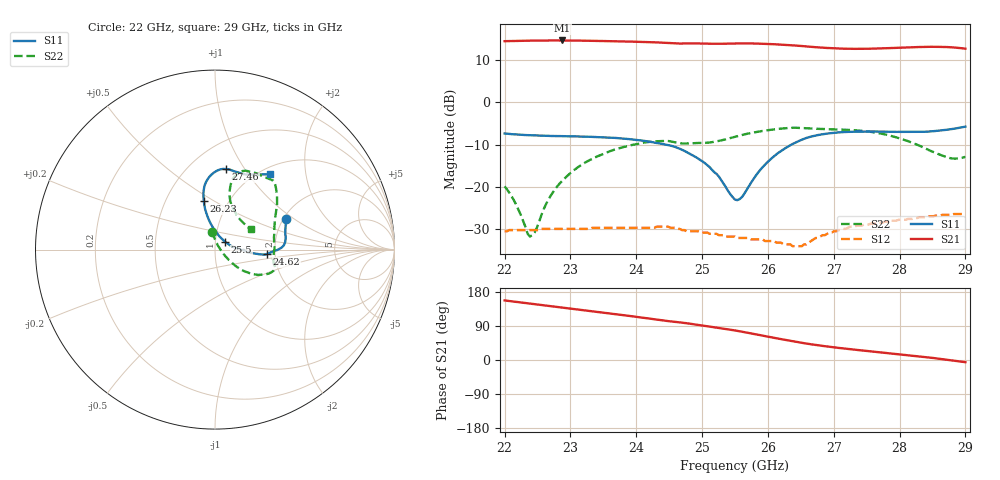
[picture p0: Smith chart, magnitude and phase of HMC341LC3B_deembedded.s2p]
!Hittite Microwave Corporation
!12 Elizabeth Drive
!Chelmsford, MA 01824
!Tel: 978-250-3343
!Fax: 978-250-3373
!Device: HMC341LC3B, 22-29 GHz, GaAs MMIC LNA in 3x3mm SMT package
!Misc: Vdd=+3V, 35mA, Room
# MHZ S MA R 50
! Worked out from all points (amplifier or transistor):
!   201 points, 22 GHz to 29 GHz, reference 50 ohm
!   highest |S21| = 14.7 dB at 22.88 GHz (marker M1)
!   |S21| within 3 dB of that: start of sweep to end of sweep
!   unconditionally stable (mu >= 1): start of sweep to end of sweep
!   at 23.16 GHz: K = 2.52, MAG = 15.4 dB, |S12| = -29.9 dB
!   at 25.5 GHz: K = 3.28, MAG = 14.8 dB, |S12| = -31.7 dB
!   at 29 GHz: K = 1.89, MAG = 14.1 dB, |S12| = -26.4 dB
!   S11 on the Smith chart (normalised r, x): 22 GHz: 2.07, +0.85; 24.62 GHz: 1.81, -0.10; 25.5 GHz: 1.11, +0.10; 26.23 GHz: 0.77, +0.45; 27.46 GHz: 0.73, +0.83; 29 GHz: 1.11, +1.27
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22000  0.43 23.0  5.304 157.2  0.03 60.0  0.102 98.7
22385  0.41 16.6  5.383 148.8  0.031 52.9  0.026 38.1
22455  0.407 15.6  5.392 147.3  0.031 51.6  0.029 4.7
22665  0.402 12.8  5.406 142.7  0.032 48.0  0.071 -33.1
22875  0.4 10.2  5.41 138.2  0.032 44.1  0.118 -37.9
23190  0.395 6.9  5.381 131.4  0.032 38.3  0.187 -37.4
23855  0.371 1.7  5.256 117.2  0.033 24.7  0.303 -27.2
24345  0.329 -1.3  5.114 105.8  0.034 11.7  0.349 -19.0
24625  0.291 -4.8  4.976 99.9  0.032 0.4  0.334 -12.4
25115  0.172 -2.9  4.949 88.1  0.028 -11.7  0.336 12.1
25500  0.071 38.0  4.983 78.0  0.026 -19.4  0.393 30.5
25605  0.076 69.1  4.997 74.7  0.025 -21.0  0.412 33.8
25815  0.136 97.8  4.977 67.8  0.024 -25.1  0.446 39.2
26235  0.279 103.0  4.812 53.9  0.021 -31.5  0.494 47.4
26480  0.353 99.8  4.673 46.4  0.02 -26.5  0.5 50.9
26690  0.401 95.1  4.523 40.6  0.024 -22.3  0.49 55.2
27075  0.443 87.7  4.343 31.9  0.031 -33.1  0.479 64.2
27460  0.452 82.4  4.31 24.7  0.036 -47.1  0.459 71.4
27845  0.451 77.5  4.392 17.9  0.039 -58.4  0.407 75.8
28510  0.457 66.3  4.552 5.4  0.045 -73.4  0.26 68.6
28790  0.484 59.9  4.491 -0.8  0.047 -79.4  0.218 50.1
29000  0.518 54.1  4.325 -5.8  0.048 -84.0  0.228 29.7
